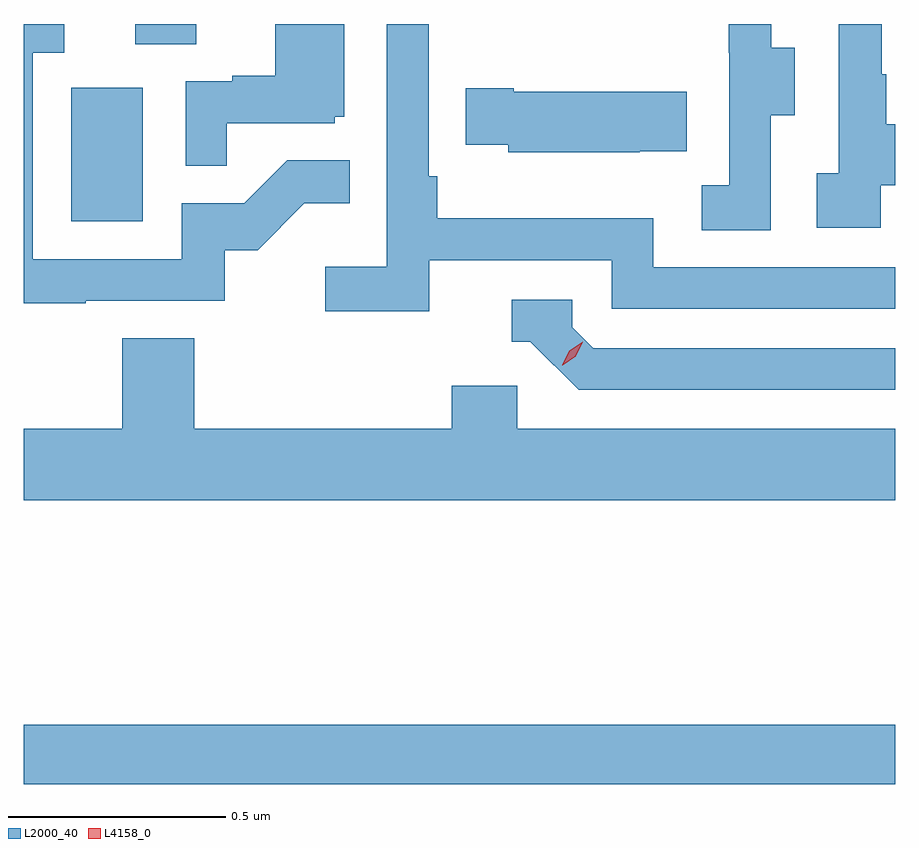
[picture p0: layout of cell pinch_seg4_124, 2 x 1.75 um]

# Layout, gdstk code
import gdstk
lib = gdstk.Library(unit=1e-6, precision=1e-09)
def R(c, l, rs):  # rectangles x0, y0, x1, y1
    for r in rs: c.add(gdstk.rectangle(r[:2], r[2:], *l))
def P(c, l, *ps):  # polygons
    for p in ps: c.add(gdstk.Polygon(p, *l))
L2000_40 = (2000, 40)
L4158_0 = (4158, 0)

pinch_seg4_124 = lib.new_cell('pinch_seg4_124')
R(pinch_seg4_124, L2000_40, [(1065.643,790.84,1067.643,790.976), (1065.752,792.132,1065.916,792.439), (1065.899,792.538,1066.039,792.585)])
P(pinch_seg4_124, L2000_40, [(1067.61,792.215),(1067.643,792.215),(1067.643,792.355),(1067.623,792.355),(1067.623,792.47),(1067.613,792.47),(1067.613,792.585),(1067.514,792.585),(1067.514,792.242),(1067.463,792.242),(1067.463,792.117),(1067.61,792.117)],
  [(1066.574,792.042),(1066.992,792.042),(1066.992,791.931),(1067.643,791.931),(1067.643,792.027),(1067.088,792.027),(1067.088,792.139),(1066.592,792.139),(1066.592,792.235),(1066.572,792.235),(1066.572,792.585),(1066.476,792.585),(1066.476,792.028),(1066.335,792.028),(1066.335,791.926),(1066.574,791.926)],
  [(1067.358,792.376),(1067.413,792.376),(1067.413,792.531),(1067.359,792.531),(1067.359,792.585),(1067.261,792.585),(1067.261,792.519),(1067.262,792.519),(1067.262,792.215),(1067.199,792.215),(1067.199,792.112),(1067.358,792.112)],
  [(1065.785,791.949),(1066.104,791.949),(1066.104,792.066),(1066.18,792.066),(1066.287,792.173),(1066.391,792.173),(1066.391,792.272),(1066.247,792.272),(1066.149,792.174),(1066.005,792.174),(1066.005,792.045),(1065.663,792.045),(1065.663,792.519),(1065.736,792.519),(1065.736,792.585),(1065.643,792.585),(1065.643,791.944),(1065.785,791.944)],
  [(1066.109,792.357),(1066.356,792.357),(1066.356,792.372),(1066.378,792.372),(1066.378,792.585),(1066.22,792.585),(1066.22,792.466),(1066.121,792.466),(1066.121,792.453),(1066.014,792.453),(1066.014,792.259),(1066.109,792.259)],
  [(1067.057,792.293),(1067.165,792.293),(1067.165,792.43),(1066.768,792.43),(1066.768,792.438),(1066.657,792.438),(1066.657,792.308),(1066.755,792.308),(1066.755,792.29),(1067.057,792.29)],
  [(1067.643,791.841),(1066.95,791.841),(1066.902,791.889),(1066.902,791.952),(1066.763,791.952),(1066.763,791.856),(1066.806,791.856),(1066.917,791.745),(1067.643,791.745)],
  [(1067.643,791.656),(1066.776,791.656),(1066.776,791.754),(1066.625,791.754),(1066.625,791.656),(1066.034,791.656),(1066.034,791.864),(1065.869,791.864),(1065.869,791.656),(1065.643,791.656),(1065.643,791.492),(1067.643,791.492)])
P(pinch_seg4_124, L4158_0, [(1066.879,791.802),(1066.879,791.803),(1066.895,791.835),(1066.926,791.855),(1066.926,791.855),(1066.926,791.855),(1066.91,791.822),(1066.88,791.802)])

lib.write_gds('pinch_seg4_124.gds')
